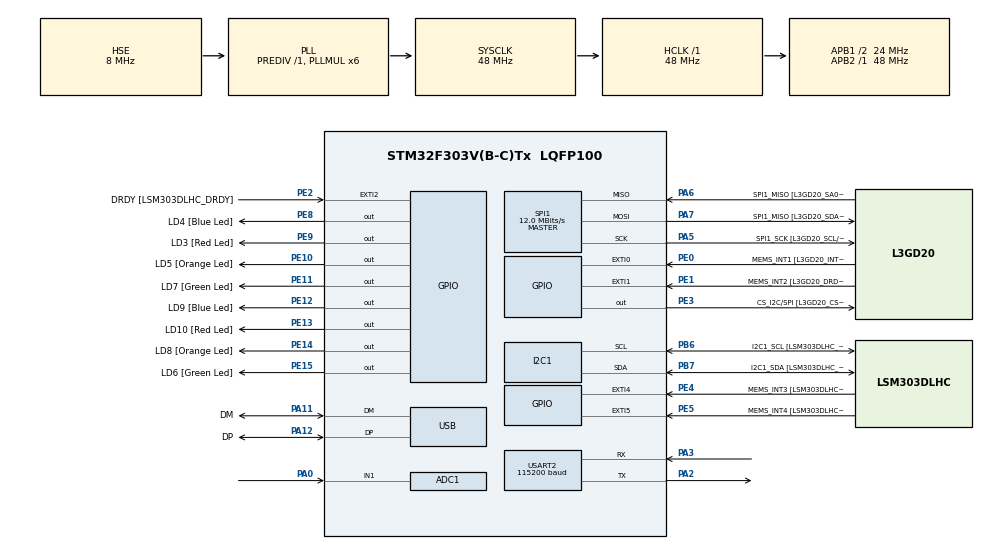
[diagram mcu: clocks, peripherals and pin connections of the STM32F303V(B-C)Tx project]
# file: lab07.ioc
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ADC1.Channel-0\#ChannelRegularConversion=ADC_CHANNEL_1
ADC1.ContinuousConvMode=ENABLE
ADC1.ExternalTrigConv=ADC_SOFTWARE_START
ADC1.NbrOfConversionFlag=1
ADC1.Offset-0\#ChannelRegularConversion=0
ADC1.OffsetNumber-0\#ChannelRegularConversion=ADC_OFFSET_NONE
ADC1.Rank-0\#ChannelRegularConversion=1
ADC1.SamplingTime-0\#ChannelRegularConversion=ADC_SAMPLETIME_601CYCLES_5
ADC1.SamplingTimeOPAMP-0\#ChannelRegularConversion=ADC_SAMPLETIME_19CYCLES_5
ADC1.master=1
I2C1.Timing=0x2000090E
I2C1.Timing-I2C=0x2000090E
Mcu.Family=STM32F3
Mcu.Name=STM32F303V(B-C)Tx
Mcu.Package=LQFP100
NVIC.ADC1_2_IRQn=true\:0\:0\:false\:false\:true\:true\:true\:true
NVIC.PriorityGroup=NVIC_PRIORITYGROUP_0
PA0.Mode=IN1-Single-Ended
PA0.Signal=ADC1_IN1
PA11.GPIO_Label=DM
PA11.Mode=Device
PA11.Signal=USB_DM
PA12.GPIO_Label=DP
PA12.Mode=Device
PA12.Signal=USB_DP
PA13.GPIO_Label=SWDIO
PA13.Mode=Serial_Wire
PA13.Signal=SYS_JTMS-SWDIO
PA14.GPIO_Label=SWCLK
PA14.Mode=Serial_Wire
PA14.Signal=SYS_JTCK-SWCLK
PA2.Mode=Asynchronous
PA2.Signal=USART2_TX
PA3.Mode=Asynchronous
PA3.Signal=USART2_RX
PA5.GPIO_Label=SPI1_SCK [L3GD20_SCL/SPC]
PA5.Mode=Full_Duplex_Master
PA5.Signal=SPI1_SCK
PA6.GPIO_Label=SPI1_MISO [L3GD20_SA0/SDO]
PA6.Mode=Full_Duplex_Master
PA6.Signal=SPI1_MISO
PA7.GPIO_Label=SPI1_MISO [L3GD20_SDA/SDI/SDO]
PA7.Mode=Full_Duplex_Master
PA7.Signal=SPI1_MOSI
PB3.GPIO_Label=SWO
PB3.Signal=SYS_JTDO-TRACESWO
PB6.GPIO_Label=I2C1_SCL [LSM303DLHC_SCL]
PB6.GPIO_Pu=GPIO_PULLUP
PB6.Mode=I2C
PB6.Signal=I2C1_SCL
PB7.GPIO_Label=I2C1_SDA [LSM303DLHC_SDA]
PB7.GPIO_Pu=GPIO_PULLUP
PB7.Mode=I2C
PB7.Signal=I2C1_SDA
PC14-OSC32_IN.GPIO_Label=OSC32_IN
PC14-OSC32_IN.Signal=RCC_OSC32_IN
PC15-OSC32_OUT.GPIO_Label=OSC32_OUT
PC15-OSC32_OUT.Signal=RCC_OSC32_OUT
PE0.GPIO_Label=MEMS_INT1 [L3GD20_INT1]
PE0.GPIO_ModeDefaultEXTI=GPIO_MODE_EVT_RISING
PE0.Signal=GPXTI0
PE1.GPIO_Label=MEMS_INT2 [L3GD20_DRDY/INT2]
PE1.GPIO_ModeDefaultEXTI=GPIO_MODE_EVT_RISING
PE1.Signal=GPXTI1
PE10.GPIO_Label=LD5 [Orange Led]
PE10.Signal=GPIO_Output
PE11.GPIO_Label=LD7 [Green Led]
PE11.Signal=GPIO_Output
PE12.GPIO_Label=LD9 [Blue Led]
PE12.Signal=GPIO_Output
PE13.GPIO_Label=LD10 [Red Led]
PE13.Signal=GPIO_Output
PE14.GPIO_Label=LD8 [Orange Led]
PE14.Signal=GPIO_Output
PE15.GPIO_Label=LD6 [Green Led]
PE15.Signal=GPIO_Output
PE2.GPIO_Label=DRDY [LSM303DLHC_DRDY]
PE2.GPIO_ModeDefaultEXTI=GPIO_MODE_EVT_RISING
PE2.Signal=GPXTI2
PE3.GPIO_Label=CS_I2C/SPI [L3GD20_CS_I2C/SPI]
PE3.Signal=GPIO_Output
PE4.GPIO_Label=MEMS_INT3 [LSM303DLHC_INT1]
PE4.GPIO_ModeDefaultEXTI=GPIO_MODE_EVT_RISING
PE4.Signal=GPXTI4
PE5.GPIO_Label=MEMS_INT4 [LSM303DLHC_INT2]
PE5.GPIO_ModeDefaultEXTI=GPIO_MODE_EVT_RISING
PE5.Signal=GPXTI5
PE8.GPIO_Label=LD4 [Blue Led]
PE8.Signal=GPIO_Output
PE9.GPIO_Label=LD3 [Red Led]
PE9.Signal=GPIO_Output
PF0-OSC_IN.GPIO_Label=OSC_IN
PF0-OSC_IN.Mode=HSE-External-Clock-Source
PF0-OSC_IN.Signal=RCC_OSC_IN
PF1-OSC_OUT.GPIO_Label=OSC_OUT
PF1-OSC_OUT.Signal=RCC_OSC_OUT
ProjectManager.HeapSize=0x200
ProjectManager.StackSize=0x400
ProjectManager.TargetToolchain=CMake
RCC.AHBFreq_Value=48000000
RCC.APB1CLKDivider=RCC_HCLK_DIV2
RCC.APB1Freq_Value=24000000
RCC.APB1TimFreq_Value=48000000
RCC.APB2Freq_Value=48000000
RCC.APB2TimFreq_Value=48000000
RCC.CortexFreq_Value=48000000
RCC.HCLKFreq_Value=48000000
RCC.HSE_VALUE=8000000
RCC.HSI_VALUE=8000000
RCC.LSE_VALUE=32768
RCC.PLLMUL=RCC_PLL_MUL6
RCC.SYSCLKFreq_VALUE=48000000
RCC.SYSCLKSourceVirtual=RCC_SYSCLKSOURCE_PLLCLK
RCC.USBFreq_Value=48000000
SPI1.BaudRatePrescaler=SPI_BAUDRATEPRESCALER_4
SPI1.BaudRatePrescaler-Full_Duplex_Master=SPI_BAUDRATEPRESCALER_2
SPI1.CalculateBaudRate=12.0 MBits/s
SPI1.CalculateBaudRate-Full_Duplex_Master=24.0 MBits/s
SPI1.Direction=SPI_DIRECTION_2LINES
SPI1.Mode=SPI_MODE_MASTER
SPI1.Mode-Full_Duplex_Master=SPI_MODE_MASTER
SPI1.VirtualType=VM_MASTER
STMicroelectronics.X-CUBE-ALGOBUILD.1.4.0.LibraryCcDSPOoLibraryJjDSPOoLibrary=true
USART2.BaudRate=115200
USART2.VirtualMode-Asynchronous=VM_ASYNC
VP_STMicroelectronics.X-CUBE-ALGOBUILD_VS_DSPOoLibraryJjLibrary_1.4.0_1.4.0.Mode=DSPOoLibraryJjLibrary
board=STM32F3DISCOVERY

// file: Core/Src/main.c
/* USER CODE BEGIN Header */
/**
  ******************************************************************************
  * @file           : main.c
  * @brief          : Main program body
  ******************************************************************************
  * @attention
  *
  * Copyright (c) 2026 STMicroelectronics.
  * All rights reserved.
  *
  * This software is licensed under terms that can be found in the LICENSE file
  * in the root directory of this software component.
  * If no LICENSE file comes with this software, it is provided AS-IS.
  *
  ******************************************************************************
  */
/* USER CODE END Header */
#include "main.h"

/* USER CODE BEGIN PD */
#define ADC_MAX_VALUE 4095.0f
#define ADC_VREF      3.3f

/* USER CODE END PD */

ADC_HandleTypeDef hadc1;

I2C_HandleTypeDef hi2c1;

SPI_HandleTypeDef hspi1;

UART_HandleTypeDef huart2;

PCD_HandleTypeDef hpcd_USB_FS;

void SystemClock_Config(void);
static void MX_GPIO_Init(void);
static void MX_ADC1_Init(void);
static void MX_I2C1_Init(void);
static void MX_SPI1_Init(void);
static void MX_USB_PCD_Init(void);
static void MX_USART2_UART_Init(void);

/* USER CODE BEGIN 0 */
#include <stdarg.h>
#include <stdio.h>
void myPrintf (const char *fmt , ...){
      char buffer[256];
      va_list args;
      va_start (args, fmt);
      int len = vsnprintf (buffer, sizeof(buffer), fmt, args);
      va_end (args);
      HAL_UART_Transmit(&huart2, (uint8_t*)buffer, len, HAL_MAX_DELAY);
  }

uint32_t adcValue = 0;
float adcVoltage = 0.0f;

static void ADC_ReadPolling(void)
{
  if (HAL_ADC_Start(&hadc1) != HAL_OK)
  {
    return;
  }

  if (HAL_ADC_PollForConversion(&hadc1, 10) == HAL_OK)
  {
    adcValue = HAL_ADC_GetValue(&hadc1);
    adcVoltage = ((float)adcValue * ADC_VREF) / ADC_MAX_VALUE;
  }

  (void)HAL_ADC_Stop(&hadc1);
}

#include "arm_math.h"
#define FILTER_LEN 10
float32_t inputBuffer[FILTER_LEN];
float32_t output;

void apply_moving_average(float32_t new_sample) {

// Store the input ADC value in the buffer:

// Your logic here to increment the index and store new_sample (ADC output) in the buffer

static uint32_t index = 0;
inputBuffer[index] = new_sample;
index = (index + 1) % FILTER_LEN;

// Use the DSP function to calculate the moving average of buffer and store in output:

arm_mean_f32(inputBuffer, FILTER_LEN, &output);
}

/* USER CODE END 0 */

int main(void)
{

  /* MCU Configuration--------------------------------------------------------*/

  /* Reset of all peripherals, Initializes the Flash interface and the Systick. */
  HAL_Init();

  /* Configure the system clock */
  SystemClock_Config();

  /* Initialize all configured peripherals */
  MX_GPIO_Init();
  MX_ADC1_Init();
  MX_I2C1_Init();
  MX_SPI1_Init();
  MX_USB_PCD_Init();
  MX_USART2_UART_Init();
  /* USER CODE BEGIN 2 */
  HAL_ADCEx_Calibration_Start(&hadc1, ADC_SINGLE_ENDED);

  /* USER CODE END 2 */

  /* Infinite loop */
  /* USER CODE BEGIN WHILE */
  while (1)
  {
    ADC_ReadPolling();
    apply_moving_average(adcValue);
    myPrintf("%lu,%lu \r\n",(int) adcValue,(int) output);
    /* USER CODE END WHILE */

  }
}

void SystemClock_Config(void)
{
  RCC_OscInitTypeDef RCC_OscInitStruct = {0};
  RCC_ClkInitTypeDef RCC_ClkInitStruct = {0};
  RCC_PeriphCLKInitTypeDef PeriphClkInit = {0};

  /** Initializes the RCC Oscillators according to the specified parameters
  * in the RCC_OscInitTypeDef structure.
  */
  RCC_OscInitStruct.OscillatorType = RCC_OSCILLATORTYPE_HSI|RCC_OSCILLATORTYPE_HSE;
  RCC_OscInitStruct.HSEState = RCC_HSE_BYPASS;
  RCC_OscInitStruct.HSEPredivValue = RCC_HSE_PREDIV_DIV1;
  RCC_OscInitStruct.HSIState = RCC_HSI_ON;
  RCC_OscInitStruct.HSICalibrationValue = RCC_HSICALIBRATION_DEFAULT;
  RCC_OscInitStruct.PLL.PLLState = RCC_PLL_ON;
  RCC_OscInitStruct.PLL.PLLSource = RCC_PLLSOURCE_HSE;
  RCC_OscInitStruct.PLL.PLLMUL = RCC_PLL_MUL6;
  if (HAL_RCC_OscConfig(&RCC_OscInitStruct) != HAL_OK)
  {
    Error_Handler();
  }

  /** Initializes the CPU, AHB and APB buses clocks
  */
  RCC_ClkInitStruct.ClockType = RCC_CLOCKTYPE_HCLK|RCC_CLOCKTYPE_SYSCLK
                              |RCC_CLOCKTYPE_PCLK1|RCC_CLOCKTYPE_PCLK2;
  RCC_ClkInitStruct.SYSCLKSource = RCC_SYSCLKSOURCE_PLLCLK;
  RCC_ClkInitStruct.AHBCLKDivider = RCC_SYSCLK_DIV1;
  RCC_ClkInitStruct.APB1CLKDivider = RCC_HCLK_DIV2;
  RCC_ClkInitStruct.APB2CLKDivider = RCC_HCLK_DIV1;

  if (HAL_RCC_ClockConfig(&RCC_ClkInitStruct, FLASH_LATENCY_1) != HAL_OK)
  {
    Error_Handler();
  }
  PeriphClkInit.PeriphClockSelection = RCC_PERIPHCLK_USB|RCC_PERIPHCLK_USART2
                              |RCC_PERIPHCLK_I2C1|RCC_PERIPHCLK_ADC12;
  PeriphClkInit.Usart2ClockSelection = RCC_USART2CLKSOURCE_PCLK1;
  PeriphClkInit.Adc12ClockSelection = RCC_ADC12PLLCLK_DIV1;
  PeriphClkInit.I2c1ClockSelection = RCC_I2C1CLKSOURCE_HSI;
  PeriphClkInit.USBClockSelection = RCC_USBCLKSOURCE_PLL;
  if (HAL_RCCEx_PeriphCLKConfig(&PeriphClkInit) != HAL_OK)
  {
    Error_Handler();
  }
}

static void MX_ADC1_Init(void)
{

  ADC_MultiModeTypeDef multimode = {0};
  ADC_ChannelConfTypeDef sConfig = {0};

  /** Common config
  */
  hadc1.Instance = ADC1;
  hadc1.Init.ClockPrescaler = ADC_CLOCK_ASYNC_DIV1;
  hadc1.Init.Resolution = ADC_RESOLUTION_12B;
  hadc1.Init.ScanConvMode = ADC_SCAN_DISABLE;
  hadc1.Init.ContinuousConvMode = ENABLE;
  hadc1.Init.DiscontinuousConvMode = DISABLE;
  hadc1.Init.ExternalTrigConvEdge = ADC_EXTERNALTRIGCONVEDGE_NONE;
  hadc1.Init.ExternalTrigConv = ADC_SOFTWARE_START;
  hadc1.Init.DataAlign = ADC_DATAALIGN_RIGHT;
  hadc1.Init.NbrOfConversion = 1;
  hadc1.Init.DMAContinuousRequests = DISABLE;
  hadc1.Init.EOCSelection = ADC_EOC_SINGLE_CONV;
  hadc1.Init.LowPowerAutoWait = DISABLE;
  hadc1.Init.Overrun = ADC_OVR_DATA_OVERWRITTEN;
  if (HAL_ADC_Init(&hadc1) != HAL_OK)
  {
    Error_Handler();
  }

  /** Configure the ADC multi-mode
  */
  multimode.Mode = ADC_MODE_INDEPENDENT;
  if (HAL_ADCEx_MultiModeConfigChannel(&hadc1, &multimode) != HAL_OK)
  {
    Error_Handler();
  }

  /** Configure Regular Channel
  */
  sConfig.Channel = ADC_CHANNEL_1;
  sConfig.Rank = ADC_REGULAR_RANK_1;
  sConfig.SingleDiff = ADC_SINGLE_ENDED;
  sConfig.SamplingTime = ADC_SAMPLETIME_601CYCLES_5;
  sConfig.OffsetNumber = ADC_OFFSET_NONE;
  sConfig.Offset = 0;
  if (HAL_ADC_ConfigChannel(&hadc1, &sConfig) != HAL_OK)
  {
    Error_Handler();
  }

}

static void MX_I2C1_Init(void)
{

  hi2c1.Instance = I2C1;
  hi2c1.Init.Timing = 0x2000090E;
  hi2c1.Init.OwnAddress1 = 0;
  hi2c1.Init.AddressingMode = I2C_ADDRESSINGMODE_7BIT;
  hi2c1.Init.DualAddressMode = I2C_DUALADDRESS_DISABLE;
  hi2c1.Init.OwnAddress2 = 0;
  hi2c1.Init.OwnAddress2Masks = I2C_OA2_NOMASK;
  hi2c1.Init.GeneralCallMode = I2C_GENERALCALL_DISABLE;
  hi2c1.Init.NoStretchMode = I2C_NOSTRETCH_DISABLE;
  if (HAL_I2C_Init(&hi2c1) != HAL_OK)
  {
    Error_Handler();
  }

  /** Configure Analogue filter
  */
  if (HAL_I2CEx_ConfigAnalogFilter(&hi2c1, I2C_ANALOGFILTER_ENABLE) != HAL_OK)
  {
    Error_Handler();
  }

  /** Configure Digital filter
  */
  if (HAL_I2CEx_ConfigDigitalFilter(&hi2c1, 0) != HAL_OK)
  {
    Error_Handler();
  }

}

static void MX_SPI1_Init(void)
{

  /* SPI1 parameter configuration*/
  hspi1.Instance = SPI1;
  hspi1.Init.Mode = SPI_MODE_MASTER;
  hspi1.Init.Direction = SPI_DIRECTION_2LINES;
  hspi1.Init.DataSize = SPI_DATASIZE_4BIT;
  hspi1.Init.CLKPolarity = SPI_POLARITY_LOW;
  hspi1.Init.CLKPhase = SPI_PHASE_1EDGE;
  hspi1.Init.NSS = SPI_NSS_SOFT;
  hspi1.Init.BaudRatePrescaler = SPI_BAUDRATEPRESCALER_4;
  hspi1.Init.FirstBit = SPI_FIRSTBIT_MSB;
  hspi1.Init.TIMode = SPI_TIMODE_DISABLE;
  hspi1.Init.CRCCalculation = SPI_CRCCALCULATION_DISABLE;
  hspi1.Init.CRCPolynomial = 7;
  hspi1.Init.CRCLength = SPI_CRC_LENGTH_DATASIZE;
  hspi1.Init.NSSPMode = SPI_NSS_PULSE_ENABLE;
  if (HAL_SPI_Init(&hspi1) != HAL_OK)
  {
    Error_Handler();
  }

}

static void MX_USART2_UART_Init(void)
{

  huart2.Instance = USART2;
  huart2.Init.BaudRate = 115200;
  huart2.Init.WordLength = UART_WORDLENGTH_8B;
  huart2.Init.StopBits = UART_STOPBITS_1;
  huart2.Init.Parity = UART_PARITY_NONE;
  huart2.Init.Mode = UART_MODE_TX_RX;
  huart2.Init.HwFlowCtl = UART_HWCONTROL_NONE;
  huart2.Init.OverSampling = UART_OVERSAMPLING_16;
  huart2.Init.OneBitSampling = UART_ONE_BIT_SAMPLE_DISABLE;
  huart2.AdvancedInit.AdvFeatureInit = UART_ADVFEATURE_NO_INIT;
  if (HAL_UART_Init(&huart2) != HAL_OK)
  {
    Error_Handler();
  }

}

static void MX_USB_PCD_Init(void)
{

  hpcd_USB_FS.Instance = USB;
  hpcd_USB_FS.Init.dev_endpoints = 8;
  hpcd_USB_FS.Init.speed = PCD_SPEED_FULL;
  hpcd_USB_FS.Init.phy_itface = PCD_PHY_EMBEDDED;
  hpcd_USB_FS.Init.low_power_enable = DISABLE;
  hpcd_USB_FS.Init.battery_charging_enable = DISABLE;
  if (HAL_PCD_Init(&hpcd_USB_FS) != HAL_OK)
  {
    Error_Handler();
  }

}

static void MX_GPIO_Init(void)
{
  GPIO_InitTypeDef GPIO_InitStruct = {0};

  /* GPIO Ports Clock Enable */
  __HAL_RCC_GPIOE_CLK_ENABLE();
  __HAL_RCC_GPIOC_CLK_ENABLE();
  __HAL_RCC_GPIOF_CLK_ENABLE();
  __HAL_RCC_GPIOA_CLK_ENABLE();
  __HAL_RCC_GPIOB_CLK_ENABLE();

  /*Configure GPIO pin Output Level */
  HAL_GPIO_WritePin(GPIOE, CS_I2C_SPI_Pin|LD4_Pin|LD3_Pin|LD5_Pin
                          |LD7_Pin|LD9_Pin|LD10_Pin|LD8_Pin
                          |LD6_Pin, GPIO_PIN_RESET);

  /*Configure GPIO pins : DRDY_Pin MEMS_INT3_Pin MEMS_INT4_Pin MEMS_INT1_Pin
                           MEMS_INT2_Pin */
  GPIO_InitStruct.Pin = DRDY_Pin|MEMS_INT3_Pin|MEMS_INT4_Pin|MEMS_INT1_Pin
                          |MEMS_INT2_Pin;
  GPIO_InitStruct.Mode = GPIO_MODE_EVT_RISING;
  GPIO_InitStruct.Pull = GPIO_NOPULL;
  HAL_GPIO_Init(GPIOE, &GPIO_InitStruct);

  /*Configure GPIO pins : CS_I2C_SPI_Pin LD4_Pin LD3_Pin LD5_Pin
                           LD7_Pin LD9_Pin LD10_Pin LD8_Pin
                           LD6_Pin */
  GPIO_InitStruct.Pin = CS_I2C_SPI_Pin|LD4_Pin|LD3_Pin|LD5_Pin
                          |LD7_Pin|LD9_Pin|LD10_Pin|LD8_Pin
                          |LD6_Pin;
  GPIO_InitStruct.Mode = GPIO_MODE_OUTPUT_PP;
  GPIO_InitStruct.Pull = GPIO_NOPULL;
  GPIO_InitStruct.Speed = GPIO_SPEED_FREQ_LOW;
  HAL_GPIO_Init(GPIOE, &GPIO_InitStruct);

}

void Error_Handler(void)
{
  __disable_irq();
  while (1)
  {
  }
}
